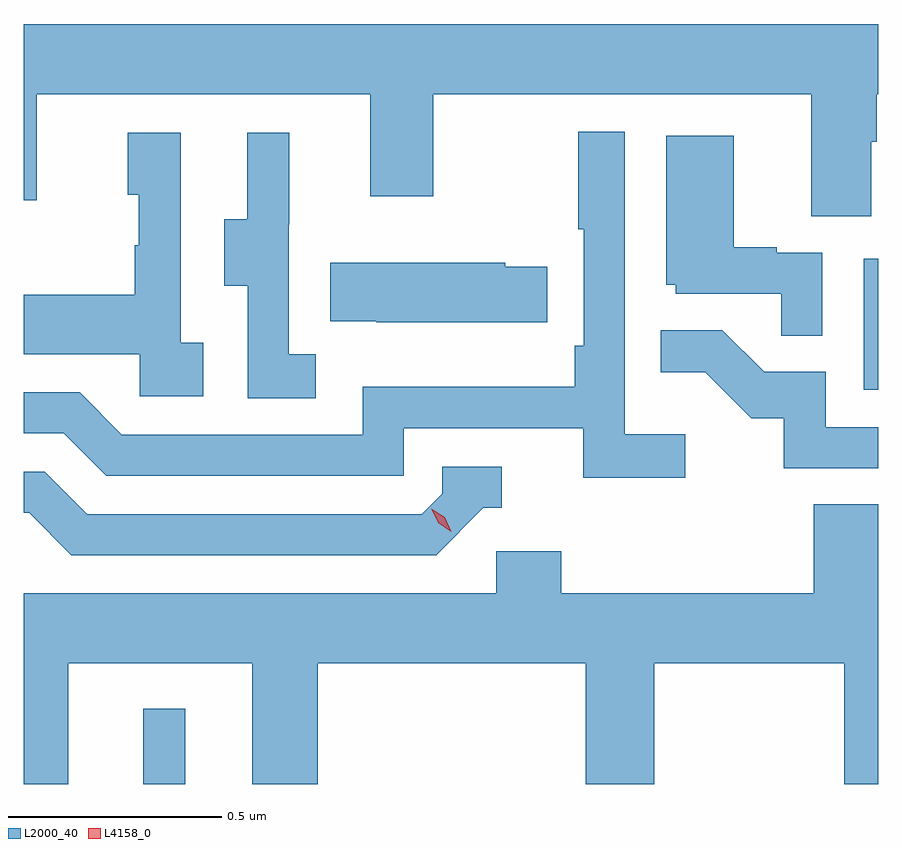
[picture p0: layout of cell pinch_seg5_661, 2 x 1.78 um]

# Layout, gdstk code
import gdstk
lib = gdstk.Library(unit=1e-6, precision=1e-09)
def R(c, l, rs):  # rectangles x0, y0, x1, y1
    for r in rs: c.add(gdstk.rectangle(r[:2], r[2:], *l))
def P(c, l, *ps):  # polygons
    for p in ps: c.add(gdstk.Polygon(p, *l))
L2000_40 = (2000, 40)
L4158_0 = (4158, 0)

pinch_seg5_661 = lib.new_cell('pinch_seg5_661')
R(pinch_seg5_661, L2000_40, [(1071.434,836.498,1071.532,836.674), (1073.12,837.42,1073.154,837.727)])
P(pinch_seg5_661, L2000_40, [(1073.137,838),(1073.15,838),(1073.15,838.112),(1073.154,838.112),(1073.154,838.276),(1071.154,838.276),(1071.154,837.864),(1071.185,837.864),(1071.185,838.112),(1071.965,838.112),(1071.965,837.873),(1072.113,837.873),(1072.113,838.112),(1072.997,838.112),(1072.997,837.826),(1073.137,837.826)],
  [(1072.702,837.316),(1072.56,837.316),(1072.56,838.024),(1072.452,838.024),(1072.452,837.796),(1072.464,837.796),(1072.464,837.523),(1072.444,837.523),(1072.444,837.427),(1071.948,837.427),(1071.948,837.315),(1071.384,837.315),(1071.285,837.414),(1071.154,837.414),(1071.154,837.318),(1071.248,837.318),(1071.347,837.219),(1072.044,837.219),(1072.044,837.33),(1072.463,837.33),(1072.463,837.214),(1072.702,837.214)],
  [(1071.838,837.503),(1071.774,837.503),(1071.774,837.807),(1071.776,837.807),(1071.776,838.021),(1071.677,838.021),(1071.677,837.819),(1071.623,837.819),(1071.623,837.664),(1071.678,837.664),(1071.678,837.4),(1071.838,837.4)],
  [(1071.574,837.53),(1071.522,837.53),(1071.522,838.021),(1071.398,838.021),(1071.398,837.876),(1071.424,837.876),(1071.424,837.758),(1071.414,837.758),(1071.414,837.643),(1071.154,837.643),(1071.154,837.503),(1071.426,837.503),(1071.426,837.405),(1071.574,837.405)],
  [(1073.022,837.741),(1072.916,837.741),(1072.916,837.754),(1072.816,837.754),(1072.816,838.015),(1072.658,838.015),(1072.658,837.666),(1072.68,837.666),(1072.68,837.645),(1072.927,837.645),(1072.927,837.547),(1073.022,837.547)],
  [(1072.379,837.708),(1072.281,837.708),(1072.281,837.718),(1071.871,837.718),(1071.871,837.581),(1071.979,837.581),(1071.979,837.578),(1072.379,837.578)],
  [(1073.154,837.333),(1073.031,837.333),(1073.031,837.462),(1072.887,837.462),(1072.789,837.56),(1072.645,837.56),(1072.645,837.461),(1072.749,837.461),(1072.856,837.354),(1072.933,837.354),(1072.933,837.237),(1073.154,837.237)],
  [(1072.23,837.144),(1072.273,837.144),(1072.273,837.24),(1072.134,837.24),(1072.134,837.177),(1072.086,837.129),(1071.303,837.129),(1071.204,837.228),(1071.154,837.228),(1071.154,837.132),(1071.167,837.132),(1071.266,837.033),(1072.119,837.033)],
  [(1071.259,836.78),(1071.689,836.78),(1071.689,836.498),(1071.842,836.498),(1071.842,836.78),(1072.469,836.78),(1072.469,836.498),(1072.629,836.498),(1072.629,836.78),(1073.074,836.78),(1073.074,836.498),(1073.154,836.498),(1073.154,837.152),(1073.003,837.152),(1073.003,836.944),(1072.412,836.944),(1072.412,837.042),(1072.26,837.042),(1072.26,836.944),(1071.154,836.944),(1071.154,836.498),(1071.259,836.498)])
P(pinch_seg5_661, L4158_0, [(1072.155,837.088),(1072.124,837.109),(1072.108,837.142),(1072.108,837.142),(1072.108,837.142),(1072.139,837.122),(1072.155,837.088),(1072.155,837.088)])

lib.write_gds('pinch_seg5_661.gds')
